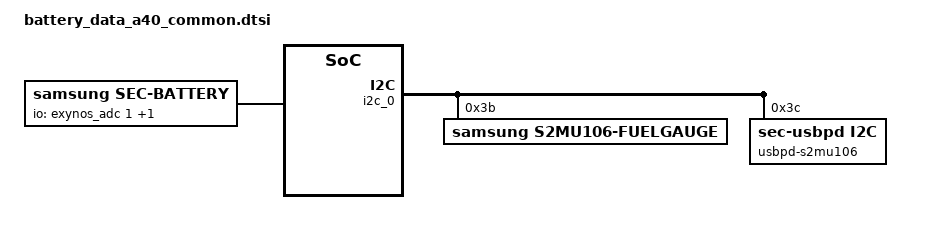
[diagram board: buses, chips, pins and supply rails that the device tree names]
/*
 * A40 Battery parameters device tree file
 *
 * Copyright (C) 2018 Samsung Electronics, Inc.
 *
 * This program is free software; you can redistribute it and/or
 * modify it under the terms of the GNU General Public License
 * as published by the Free Software Foundation; either version 2
 * of the License, or (at your option) any later version.
 *
 * This program is distributed in the hope that it will be useful,
 * but WITHOUT ANY WARRANTY; without even the implied warranty of
 * MERCHANTABILITY or FITNESS FOR A PARTICULAR PURPOSE. See the
 * GNU General Public License for more details.
 *
 * You should have received a copy of the GNU General Public License
 * along with this program. If not, see <http://www.gnu.org/licenses/>.
 *
 */

/ {
	fragment@battery {
		target-path = "/";
		__overlay__ {
			battery_params {
				battery,battery_data =
				<
					/***** battery data for 4.35 *****/
					/* battery,battery_table3 */
					7 11 132 10 2 10 143 9 35 9
					186 8 102 8 218 7 169 7 96 7
					249 6 181 6 137 6 103 6 76 6
					55 6 26 6 243 5 188 5 137 5
					73 5 219 1 196 8 87 8 233 7
					124 7 15 7 162 6 53 6 200 5
					91 5 238 4 129 4 20 4 167 3
					58 3 205 2 95 2 242 1 133 1
					24 1 171 0 62 0 217 15

					/* battery,battery_table4 */
					10 10 10 10 10 10 59 60 60 58
					58 58 58 59 60 60 61 63 65 69
					76 160

					/* battery,batcap */
					0x8C 0x2D 0x63 0x0B /* [0x0E] [0x0F] [0x10] [0x11] */

					/* battery,accum */ 
					0x00 0x08 /* [0x44] [0x45] */

					/* battery,soc_arr_val */
					10955 10422 9890 9357 8824 8292 7759 7227 6694 6161
					5629 5096 4563 4031 3498 2965 2432 1900 1367 834
					301 (-192)

					/* battery,ocv_arr_val */
					43782 43146 42510 41949 41419 40907 40496 39813 39576 39219
					38717 38384 38169 38002 37872 37767 37628 37435 37168 36916
					36607 32321

					/* battery,tunning */
					0x00

					/***** battery data for 4.33 *****/
					/* battery,battery_table3 */
					7 11 132 10 2 10 143 9 35 9
					186 8 102 8 218 7 169 7 96 7
					249 6 181 6 137 6 103 6 76 6
					55 6 26 6 243 5 188 5 137 5
					73 5 219 1 188 8 79 8 226 7
					118 7 9 7 156 6 48 6 195 5
					86 5 233 4 125 4 16 4 163 3
					55 3 202 2 93 2 240 1 132 1
					23 1 170 0 62 0 217 15

					/* battery,battery_table4 */
					60 60 60 59 60 60 59 60 60 58
					58 58 58 59 60 60 61 63 65 69
					76 160

					/* battery,batcap */
					0x50 0x2D 0x54 0x0B /* [0x0E] [0x0F] [0x10] [0x11] */
					/* battery,accum */
					0x00 0x8 /* [0x44] [0x45] */

					/* battery,soc_arr_val */
					10917 10386 9855 9324 8793 8263 7732 7201 6670 6140
					5609 5078 4547 4017 3486 2955 2424 1893 1362 831
					300 (-191)

					/* battery,ocv_arr_val */
					43782 43146 42510 41949 41419 40907 40496 39813 39576 39219
					38717 38384 38169 38002 37872 37767 37628 37435 37168 36916
					36607 32321

					/* battery,tunning */
					0x00

					/***** battery data for 4.31 *****/
					/* battery,battery_table3 */
					7 11 132 10 2 10 143 9 35 9
					186 8 102 8 218 7 169 7 96 7
					249 6 181 6 137 6 103 6 76 6
					55 6 26 6 243 5 188 5 137 5
					73 5 219 1 220 8 109 8 255 7
					145 7 35 7 180 6 70 6 216 5
					106 5 251 4 141 4 31 4 177 3
					66 3 212 2 102 2 248 1 137 1
					27 1 173 0 62 0 216 15

					/* battery,battery_table4 */
					60 60 60 59 60 60 59 60 60 58
					58 58 58 59 60 60 61 63 65 69
					76 160

					/* battery,batcap */
					0x88 0x2C 0x22 0x0B /* [0x0E] [0x0F] [0x10] [0x11] */
					/* battery,accum */
					0x00 0x8 /* [0x44] [0x45] */

					/* battery,soc_arr_val */
					11072 10534 9995 9457 8919 8380 7842 7304 6766 6227
					5689 5151 4612 4074 3536 2997 2458 1920 1382 843
					305 (-194)
					

					/* battery,ocv_arr_val */
					43782 43146 42510 41949 41419 40907 40496 39813 39576 39219
					38717 38384 38169 38002 37872 37767 37628 37435 37168 36916
					36607 32321

					/* battery,tunning */
					0x00

					/***** battery data for 4.29 *****/
					/* battery,battery_table3 */
					7 11 132 10 2 10 143 9 35 9
					186 8 102 8 218 7 169 7 96 7
					249 6 181 6 137 6 103 6 76 6
					55 6 26 6 243 5 188 5 137 5
					73 5 219 1 5 9 148 8 36 8
					180 7 68 7 212 6 99 6 243 5
					131 5 19 5 162 4 50 4 194 3
					82 3 225 2 113 2 1 2 144 1
					32 1 176 0 64 0 215 15

					/* battery,battery_table4 */
					60 60 60 59 60 60 59 60 60 58
					58 58 58 59 60 60 61 63 65 69
					76 160

					/* battery,batcap */
					0xC0 0x2B 0xF0 0x0A /* [0x0E] [0x0F] [0x10] [0x11] */
					/* battery,accum */
					0x00 0x8 /* [0x44] [0x45] */

					/* battery,soc_arr_val */
					11273 10725 10177 9629 9080 8532 7984 7436 6888 6340
					5792 5244 4696 4148 3600 3051 2503 1955 1407 858
					310 (-197)

					/* battery,ocv_arr_val */
					43782 43146 42510 41949 41419 40907 40496 39813 39576 39219
					38717 38384 38169 38002 37872 37767 37628 37435 37168 36916
					36607 32321

					/* battery,tunning */
					0x00

					/***** battery data for 4.24 *****/
					/* battery,battery_table3 */
					7 11 132 10 2 10 143 9 35 9
					186 8 102 8 218 7 169 7 96 7
					249 6 181 6 137 6 103 6 76 6
					55 6 26 6 243 5 188 5 137 5
					73 5 219 1 119 9 1 9 139 8
					22 8 160 7 42 7 180 6 62 6
					201 5 83 5 221 4 103 4 241 3
					124 3 6 3 144 2 26 2 164 1
					46 1 185 0 67 0 213 15

					/* battery,battery_table4 */
					60 60 60 59 60 60 59 60 60 58
					58 58 58 59 60 60 61 63 65 69
					76 160

					/* battery,batcap */
					0x30 0x2A 0x8C 0x0A /* [0x0E] [0x0F] [0x10] [0x11] */
					/* battery,accum */
					0x00 0x8 /* [0x44] [0x45] */

					/* battery,soc_arr_val */
					11830 11255 10680 10105 9530 8955 8379 7804 7229 6654
					6079 5503 4928 4353 3778 3202 2627 2052 1476 901
					325 (-207)
					/* battery,ocv_arr_val */
					43782 43146 42510 41949 41419 40907 40496 39813 39576 39219
					38717 38384 38169 38002 37872 37767 37628 37435 37168 36916
					36607 32321

					/* battery,tunning */
					0x00

					>;
					battery,data_ver = <0x04>;
			};

			pdic-manager {
				/* sink */
				pdic,max_power = <5000>;
				pdic,op_power = <2500>;
				pdic,max_voltage = <6000>;
				pdic,max_current = <2000>;
				pdic,min_current = <500>;

				pdic,giveback = <0>;
				pdic,usb_com_capable = <1>;
				pdic,no_usb_suspend = <1>;

				/* source */
				source,max_voltage = <5000>;
				source,min_voltage = <4000>;
				source,max_power = <2500>;

				/* sink cap */
				sink,capable_max_voltage = <9000>;
			};

			battery {
				status = "okay";
				compatible = "samsung,sec-battery";

				pinctrl-names = "default";

				battery,vendor = "Battery";
				battery,charger_name = "s2mu106-charger";
				battery,fuelgauge_name = "s2mu106-fuelgauge";
				battery,technology = <2>; /* POWER_SUPPLY_TECHNOLOGY_LION */
				battery,fgsrc_switch_name = "s2mu106-fuelgauge"; /* Fuelgauge voltage source */

				battery,chip_vendor = "LSI";
				battery,temp_adc_type = <1>; /* SEC_BATTERY_ADC_TYPE_AP */

				battery,temp_check_type = <2>; /* SEC_BATTERY_TEMP_CHECK_TEMP */
				battery,chg_temp_check = <1>;

				battery,thermal_source = <2>; /* SEC_BATTERY_THERMAL_SOURCE_ADC */
				battery,chg_thermal_source = <2>; /* SEC_CHARGER_THERMAL_SOURCE_FG */

				battery,polling_time = <10 30 30 30 3600>;

				battery,temp_table_adc = <
							319 431 470 686 726 743 827 852 908 967 
							1035 1091 1157 1217 1400 1612 1824 2057 2301 2536 
							2755 2831 2959 3012 3102 3154 3176 3229 3284 3371 
							3440 3559 3676
							>;
				battery,temp_table_data = <
							900 800 750 650 620 600 580 570 550 530
							510 490 470 450 400 350 300 250 200 150
							100 80 50 30 10 0 (-10) (-30) (-50) (-70)
							(-100) (-150) (-200)
							>;

				battery,inbat_voltage = <1>;

				battery,inbat_voltage_table_adc = <
								2766 2755 2728 2698 2678 2649 2620 2598 2562 2532
								2508 2475 2448 2429 2401 2370 2348 2318 2288 2258
								>;
				battery,inbat_voltage_table_data = <
								4350 4300 4250 4200 4150 4100 4050 4000 3950 3900
								3850 3800 3750 3700 3650 3600 3550 3500 3450 3400
								>;

				battery,adc_check_count = <5>;

				battery,cable_check_type = <4>; /* SEC_BATTERY_CABLE_CHECK_PSY */
				battery,cable_source_type = <1>; /* SEC_BATTERY_CABLE_SOURCE_EXTERNAL */
				battery,polling_type = <1>; /* SEC_BATTERY_MONITOR_ALARM */
				battery,monitor_initial_count = <0>;

				battery,pre_afc_input_current = <500>;

				battery,battery_check_type = <0>; /* SEC_BATTERY_CHECK_NONE */
				battery,check_count = <0>;

				battery,ovp_uvlo_check_type = <3>; /* SEC_BATTERY_OVP_UVLO_CHGPOLLING */

				battery,temp_check_count = <1>;
				battery,temp_highlimit_threshold_event = <800>;
				battery,temp_highlimit_recovery_event = <750>;
				battery,temp_high_threshold_event = <500>;
				battery,temp_high_recovery_event = <480>;
				battery,temp_low_threshold_event = <0>;
				battery,temp_low_recovery_event = <20>;
				battery,temp_highlimit_threshold_normal = <800>;
				battery,temp_highlimit_recovery_normal = <750>;
				battery,temp_high_threshold_normal = <500>;
				battery,temp_high_recovery_normal = <480>;
				battery,temp_low_threshold_normal = <0>;
				battery,temp_low_recovery_normal = <20>;
				battery,temp_highlimit_threshold_lpm = <800>;
				battery,temp_highlimit_recovery_lpm = <750>;
				battery,temp_high_threshold_lpm = <500>;
				battery,temp_high_recovery_lpm = <480>;
				battery,temp_low_threshold_lpm = <0>;
				battery,temp_low_recovery_lpm = <20>;
				battery,wpc_high_threshold_normal = <450>;
				battery,wpc_high_recovery_normal = <400>;
				battery,wpc_low_threshold_normal = <0>;
				battery,wpc_low_recovery_normal = <50>;

				battery,full_check_type = <2>; /* SEC_BATTERY_FULLCHARGED_FG_CURRENT */
				battery,full_check_type_2nd = <2>; /* SEC_BATTERY_FULLCHARGED_FG_CURRENT */
				battery,full_check_count = <1>;
				battery,chg_gpio_full_check = <0>;
				battery,chg_polarity_full_check = <1>;

				battery,chg_heating_prevention_method = <1>; /* SEC_BATTERY_BY_CHANGING_CURRENT */
				battery,chg_high_temp = <460>;
				battery,chg_high_temp_recovery = <440>;
				battery,chg_input_limit_current = <1000>;
				battery,chg_charging_limit_current = <1250>;

				battery,mix_high_temp = <420>;
				battery,mix_high_chg_temp = <500>;
				battery,mix_high_temp_recovery = <390>;

				/* SEC_BATTERY_FULL_CONDITION_SOC |
				 * SEC_BATTERY_FULL_CONDITION_NOTIMEFULL |
				 * SEC_BATTERY_FULL_CONDITION_VCELL
				 */
				battery,full_condition_type = <13>;
				battery,full_condition_soc = <93>;
				battery,full_condition_vcell = <4250>;

				battery,recharge_check_count = <1>;
				battery,recharge_condition_type = <4>; /* SEC_BATTERY_RECHARGE_CONDITION_VCELL */
				battery,recharge_condition_soc = <98>;
				battery,recharge_condition_vcell = <4280>;

				battery,charging_total_time = <14400>;
				battery,hv_charging_total_time = <10800>;
				battery,normal_charging_total_time = <18000>;
				battery,usb_charging_total_time = <36000>;
				battery,recharging_total_time = <5400>;
				battery,charging_reset_time = <0>;

				battery,chg_float_voltage = <4350>;

				battery,swelling_high_temp_block = <410>;
				battery,swelling_high_temp_recov = <390>;
				battery,swelling_wc_high_temp_recov = <390>;
				battery,swelling_low_temp_block_1st = <150>;
				battery,swelling_low_temp_recov_1st = <170>;
				battery,swelling_low_temp_block_2nd = <50>;
				battery,swelling_low_temp_recov_2nd = <70>;

				battery,swelling_low_temp_current = <700>;	/* 0.3C */
				battery,swelling_low_temp_current_2nd = <300>;	/* 0.1C */ 
				battery,swelling_low_temp_topoff = <175>;	/* 0.05C */
				battery,swelling_high_temp_current = <1050>;	/* 0.45C */
				battery,swelling_high_temp_topoff = <175>;	/* 0.05C */
				battery,swelling_wc_high_temp_current = <750>;	/* 0.3C */
				battery,swelling_wc_low_temp_current = <750>;	/* 0.3C */

				battery,swelling_drop_float_voltage = <4150>;
				battery,swelling_high_rechg_voltage = <4000>;
				battery,swelling_low_rechg_voltage = <4000>;

				battery,siop_event_check_type = <1>;
				battery,siop_call_cv_current = <330>;
				battery,siop_call_cc_current = <330>;

				battery,siop_input_limit_current = <1200>;
				battery,siop_charging_limit_current = <1000>;
				battery,siop_hv_input_limit_current = <700>;
				battery,siop_hv_charging_limit_current = <1000>;
				battery,input_current_by_siop_20 = <550>;

				battery,pd_charging_charge_power = <15000>;
				battery,max_charging_current = <2400>;
				battery,battery_full_capacity = <3100>;

				/* cycle, chg_float_voltage, recharge_condition_vcell, full_condition_vcell, full_condition_soc, step_charging_condition */
				battery,age_data = <0 4350 4280 4250 93	4150 /*4.35*/
						300 4330 4260 4230 92 4150	/*4.33*/
						400 4310 4240 4210 91 4150	/*4.31*/
						700 4290 4220 4190 90 4150	/*4.29*/
						1000 4240 4170 4140 89 4150	/*4.24*/
						>;
	
				/* step charging option */
				battery,step_charging_type = <0x0F>;
				battery,step_charging_charge_power = <12000>;
				battery,step_charging_condition = <4150 4350>;
				battery,step_charging_condition_curr = <2150 2150>;
				battery,step_charging_current = <2400 2150>;
				battery,step_charging_float_voltage = <4150 4350>;

				battery,max_input_voltage = <9000>; /* mV */
				battery,max_input_current = <3000>;  /* mA */

				battery,standard_curr = <2150>;
				battery,expired_time = <9600>; /* 100 + 60 minutes */
				battery,recharging_expired_time = <5400>;

				battery,cisd_max_voltage_thr = <5000>; /* battery ovp detection voltage */

				battery,prepare_afc_delay = <0>;

				battery,cisd_alg_index = <7>;
				battery,lowtemp_support_full_volt;
				battery,enable_water_resistance;

				io-channels = <&exynos_adc 1>, <&exynos_adc 2>;
				io-channel-names = "adc-temp", "adc-in-bat";
				#io-channel-cells = <5>;
				io-channel-ranges;

				battery,ttf_hv_charge_current = <2230>;
				battery,ttf_capacity = <2790>;
				battery,cv_data = <
							2107	796	2153
							2084	801	2132
							1963	811	2081
							1870	821	2029
							1781	831	1967
							1691	841	1916
							1599	850	1854
							1484	861	1782
							1396	870	1721
							1293	880	1638
							1191	890	1556
							1102	900	1474
							997	910	1371
							875	920	1258
							772	930	1134
							679	940	1001
							565	950	836
							467	961	642
							442	970	590
							426	980	518
							402	990	456
							388	995	415
							292	1000	0
							>;
			};

/* sec_battery_cable
 *   0	UNKNOWN,
 *   1	NONE,
 *   2	PREPARE_TA,
 *   3	TA,
 *   4	USB,
 *   5	USB_CDP,
 *   6	9V_TA,
 *   7	9V_ERR,
 *   8	9V_UNKNOWN,
 *   9	12V_TA,
 *  10	WIRELESS,
 *  11	HV_WIRELESS,
 *  12	PMA_WIRELESS,
 *  13	WIRELESS_PACK,
 *  14	WIRELESS_PACK_TA,
 *  15	WIRELESS_STAND,
 *  16	WIRELESS_HV_STAND,
 *  17	QC20,
 *  18	QC30,
 *  19	PDIC,
 *  20	UARTOFF,
 *  21	OTG,
 *  22	LAN_HUB,
 *  23	POWER_SHARING,
 *  24	HMT_CONNECTED,
 *  25	HMT_CHARGE,
 *  26	HV_TA_CHG_LIMIT,
 *  27	WIRELESS_VEHICLE,
 *  28	WIRELESS_HV_VEHICLE,
 *  29	PREPARE_WIRELESS_HV,
 *  30	TIMEOUT,
 *  31	SMART_OTG,
 *  32	SMART_NOTG,
 *  33	FACTORY_UART,
 *  34	CABLE_MAX,
 */
			cable-info {
				default_input_current = <1800>;
				default_charging_current = <2100>;
				full_check_current_1st = <300>;
				full_check_current_2nd = <175>;

				current_group_1 {
					cable_number = <1 4 19 21 22 23 30>;
					input_current = <500>;
					charging_current = <500>;
				};

				current_group_2 {
					cable_number = <2 25 31>;
					input_current = <1000>;
					charging_current = <1000>;
				};

				current_group_3 {
					cable_number = <5 32>;
					input_current = <1500>;
					charging_current = <1500>;
				};

				current_group_4 {
					cable_number = <6 7 8>;
					input_current = <1650>;
					charging_current = <2400>;
				};

				current_group_5 {
					cable_number = <9>;
					input_current = <1650>;
					charging_current = <2400>;
				};

				current_group_6 {
					cable_number = <10 12 14 15 27>;
					input_current = <900>;
					charging_current = <1200>;
				};

				current_group_7 {
					cable_number = <13>;
					input_current = <700>;
					charging_current = <1200>;
				};

				current_group_8 {
					cable_number = <24>;
					input_current = <1000>;
					charging_current = <450>;
				};

				current_group_9 {
					cable_number = <26>;
					input_current = <2000>;
					charging_current = <1800>;
				};

				current_group_10 {
					cable_number = <11 16 28>;
					input_current = <650>;
					charging_current = <1200>;
				};

				current_group_11 {
					cable_number = <29>;
					input_current = <500>;
					charging_current = <1200>;
				};
			};

			s2mu106-charger {
				status = "disable";
				compatible = "samsung,s2mu106-charger";
			};
		};
	};
};

&pinctrl_0 {
	fuel_irq: fuel-irq {
		samsung,pins = "gpa2-4";
		samsung,pin-function = <0>;
		samsung,pin-pud = <2>;
		samsung,pin-drv = <0>;
	};

	if_pmic_irq: if-pmic-irq {
		samsung,pins = "gpa2-2";
		samsung,pin-function = <0>;
		samsung,pin-pud = <0>;
		samsung,pin-drv = <0>;
	};

	usbpd_irq: usbpd-irq {
		samsung,pins = "gpa2-3";
		samsung,pin-function = <0x0f>;
		samsung,pin-pud = <0>;
		samsung,pin-drv = <0>;
	};
};

&i2c_0 {
	i2c-gpio,delay-us = <5>;
	status = "okay";
	s2mu106-fuelgauge@3B {
		compatible = "samsung,s2mu106-fuelgauge";
		reg = <0x3B>;
		pinctrl-names = "default";
		pinctrl-0 = <&fuel_irq>;
		fuelgauge,fuel_int = <&gpa2 4 0>;
		fuelgauge,fuel_alert_soc = <1>;
		fuelgauge,fuel_alert_vol = <3300>;
		fuelgauge,low_temp_limit = <100>;
		fuelgauge,sw_vbat_l_recovery_vol = <3465>;
		fuelgauge,capacity_max = <970>;
		fuelgauge,capacity_max_margin = <200>;
		fuelgauge,capacity_min = <0>;
		fuelgauge,capacity_calculation_type = <28>;
		fuelgauge,capacity_full = <3100>;
		fuelgauge,type_str = "SDI";
		fuelgauge,fg_log_enable = <1>;
	};

	usbpd-s2mu106@3C {
		compatible = "sec-usbpd,i2c";
		reg = <0x3C>;
		pinctrl-names = "default";
		pinctrl-0     = <&usbpd_irq>;
		usbpd,usbpd_int = <&gpa2 3 0>;
	};
};
